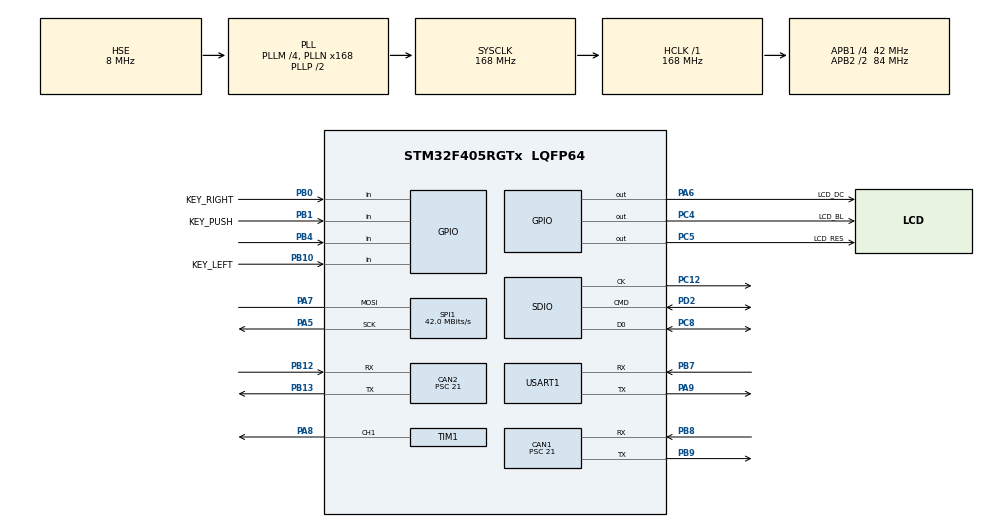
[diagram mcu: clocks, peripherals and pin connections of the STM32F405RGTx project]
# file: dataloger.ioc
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CAN1.BS1=CAN_BS1_4TQ
CAN1.BS2=CAN_BS2_3TQ
CAN1.CalculateBaudRate=250000
CAN1.CalculateTimeBit=4000
CAN1.CalculateTimeQuantum=500.0
CAN1.Prescaler=21
CAN2.BS1=CAN_BS1_4TQ
CAN2.BS2=CAN_BS2_3TQ
CAN2.CalculateBaudRate=250000
CAN2.CalculateTimeBit=4000
CAN2.CalculateTimeQuantum=500.0
CAN2.Prescaler=21
Dma.Request0=TIM1_CH1
Dma.Request1=SPI1_TX
Dma.SPI1_TX.1.Direction=DMA_MEMORY_TO_PERIPH
Dma.SPI1_TX.1.FIFOMode=DMA_FIFOMODE_DISABLE
Dma.SPI1_TX.1.Instance=DMA2_Stream3
Dma.SPI1_TX.1.MemDataAlignment=DMA_MDATAALIGN_BYTE
Dma.SPI1_TX.1.MemInc=DMA_MINC_ENABLE
Dma.SPI1_TX.1.Mode=DMA_NORMAL
Dma.SPI1_TX.1.PeriphDataAlignment=DMA_PDATAALIGN_BYTE
Dma.SPI1_TX.1.PeriphInc=DMA_PINC_DISABLE
Dma.SPI1_TX.1.Priority=DMA_PRIORITY_LOW
Dma.TIM1_CH1.0.Direction=DMA_MEMORY_TO_PERIPH
Dma.TIM1_CH1.0.FIFOMode=DMA_FIFOMODE_DISABLE
Dma.TIM1_CH1.0.Instance=DMA2_Stream1
Dma.TIM1_CH1.0.MemDataAlignment=DMA_MDATAALIGN_HALFWORD
Dma.TIM1_CH1.0.MemInc=DMA_MINC_ENABLE
Dma.TIM1_CH1.0.Mode=DMA_NORMAL
Dma.TIM1_CH1.0.PeriphDataAlignment=DMA_PDATAALIGN_HALFWORD
Dma.TIM1_CH1.0.PeriphInc=DMA_PINC_DISABLE
Dma.TIM1_CH1.0.Priority=DMA_PRIORITY_LOW
FATFS.BSP.number=1
FATFS._CODE_PAGE=437
FATFS._USE_LFN=2
FATFS0.BSP.STBoard=false
FATFS0.BSP.api=Unknown
FATFS0.BSP.instance=PB4
FATFS0.BSP.ip=GPIO
FATFS0.BSP.mode=Input
FATFS0.BSP.name=Detect_SDIO
FATFS0.BSP.solution=PB4
Mcu.Family=STM32F4
Mcu.Name=STM32F405RGTx
Mcu.Package=LQFP64
NVIC.CAN1_RX0_IRQn=true\:0\:0\:false\:false\:true\:true\:true\:true
NVIC.CAN2_RX0_IRQn=true\:0\:0\:false\:false\:true\:true\:true\:true
NVIC.DMA2_Stream1_IRQn=true\:0\:0\:false\:false\:true\:false\:true\:true
NVIC.DMA2_Stream3_IRQn=true\:0\:0\:false\:false\:true\:false\:true\:true
NVIC.PriorityGroup=NVIC_PRIORITYGROUP_4
NVIC.SDIO_IRQn=true\:0\:0\:false\:false\:true\:true\:true\:true
PA13.Mode=Serial_Wire
PA13.Signal=SYS_JTMS-SWDIO
PA14.Mode=Serial_Wire
PA14.Signal=SYS_JTCK-SWCLK
PA5.Mode=Simplex_Bidirectional_Master
PA5.Signal=SPI1_SCK
PA6.GPIO_Label=LCD_DC
PA6.GPIO_PuPd=GPIO_PULLUP
PA6.GPIO_Speed=GPIO_SPEED_FREQ_VERY_HIGH
PA6.PinState=GPIO_PIN_RESET
PA6.Signal=GPIO_Output
PA7.Mode=Simplex_Bidirectional_Master
PA7.Signal=SPI1_MOSI
PA8.Signal=S_TIM1_CH1
PA9.Mode=Asynchronous
PA9.Signal=USART1_TX
PB0.GPIO_Label=KEY_RIGHT
PB0.GPIO_PuPd=GPIO_PULLUP
PB0.Signal=GPIO_Input
PB1.GPIO_Label=KEY_PUSH
PB1.GPIO_PuPd=GPIO_PULLUP
PB1.Signal=GPIO_Input
PB10.GPIO_Label=KEY_LEFT
PB10.GPIO_PuPd=GPIO_PULLUP
PB10.Signal=GPIO_Input
PB12.Mode=CAN_Activate
PB12.Signal=CAN2_RX
PB13.Mode=CAN_Activate
PB13.Signal=CAN2_TX
PB4.Signal=GPIO_Input
PB7.Mode=Asynchronous
PB7.Signal=USART1_RX
PB8.Mode=CAN_Activate
PB8.Signal=CAN1_RX
PB9.Mode=CAN_Activate
PB9.Signal=CAN1_TX
PC12.Mode=SD_1_bit
PC12.Signal=SDIO_CK
PC4.GPIO_Label=LCD_BL
PC4.GPIO_PuPd=GPIO_PULLUP
PC4.GPIO_Speed=GPIO_SPEED_FREQ_VERY_HIGH
PC4.Signal=GPIO_Output
PC5.GPIO_Label=LCD_RES
PC5.GPIO_ModeDefaultOutputPP=GPIO_MODE_OUTPUT_PP
PC5.GPIO_PuPd=GPIO_PULLUP
PC5.GPIO_Speed=GPIO_SPEED_FREQ_VERY_HIGH
PC5.Signal=GPIO_Output
PC8.Mode=SD_1_bit
PC8.Signal=SDIO_D0
PD2.Mode=SD_1_bit
PD2.Signal=SDIO_CMD
PH0-OSC_IN.Mode=HSE-External-Oscillator
PH0-OSC_IN.Signal=RCC_OSC_IN
PH1-OSC_OUT.Mode=HSE-External-Oscillator
PH1-OSC_OUT.Signal=RCC_OSC_OUT
ProjectManager.HeapSize=0x200
ProjectManager.StackSize=0x1000
ProjectManager.TargetToolchain=MDK-ARM V5
RCC.48MHZClocksFreq_Value=48000000
RCC.AHBFreq_Value=168000000
RCC.APB1CLKDivider=RCC_HCLK_DIV4
RCC.APB1Freq_Value=42000000
RCC.APB1TimFreq_Value=84000000
RCC.APB2CLKDivider=RCC_HCLK_DIV2
RCC.APB2Freq_Value=84000000
RCC.APB2TimFreq_Value=168000000
RCC.CortexFreq_Value=168000000
RCC.HCLKFreq_Value=168000000
RCC.HSE_VALUE=8000000
RCC.HSI_VALUE=16000000
RCC.LSE_VALUE=32768
RCC.PLLM=4
RCC.PLLN=168
RCC.PLLQ=7
RCC.PLLSourceVirtual=RCC_PLLSOURCE_HSE
RCC.SYSCLKFreq_VALUE=168000000
RCC.SYSCLKSource=RCC_SYSCLKSOURCE_PLLCLK
RCC.VCOOutputFreq_Value=336000000
SDIO.ClockDiv=4
SH.S_TIM1_CH1.0=TIM1_CH1,PWM Generation1 CH1
SPI1.CalculateBaudRate=42.0 MBits/s
SPI1.Direction=SPI_DIRECTION_1LINE
SPI1.Mode=SPI_MODE_MASTER
SPI1.VirtualType=VM_MASTER
TIM1.Channel-PWM\ Generation1\ CH1=TIM_CHANNEL_1
TIM1.Period=209
TIM1.Prescaler=0
TIM2.Period=65535
TIM2.Prescaler=165
USART1.VirtualMode=VM_ASYNC
VP_FATFS_VS_Generic.Mode=User_defined
VP_FATFS_VS_SDIO.Mode=SDIO
VP_TIM1_VS_ClockSourceINT.Mode=Internal
VP_TIM2_VS_ClockSourceINT.Mode=Internal
board=custom

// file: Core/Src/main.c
/* USER CODE BEGIN Header */
/**
  ******************************************************************************
  * @file           : main.c
  * @brief          : Main program body
  ******************************************************************************
  * @attention
  *
  * Copyright (c) 2024 STMicroelectronics.
  * All rights reserved.
  *
  * This software is licensed under terms that can be found in the LICENSE file
  * in the root directory of this software component.
  * If no LICENSE file comes with this software, it is provided AS-IS.
  *
  ******************************************************************************
  */
/* USER CODE END Header */
#include "main.h"
#include "can.h"
#include "dma.h"
#include "fatfs.h"
#include "sdio.h"
#include "spi.h"
#include "tim.h"
#include "usart.h"
#include "gpio.h"

/* USER CODE BEGIN Includes */
#include "bsp_WS2812B.h"
#include "bsp_lcd.h"
#include "bsp_key.h"
#include "app_can.h"
#include "app_sdio.h"
#include "app_fatdata.h"
#include "app_ui.h"
#include "Variable.h"

#include "stdio.h"
#include "string.h"
/* USER CODE END Includes */

void SystemClock_Config(void);

int main(void)
{

  /* MCU Configuration--------------------------------------------------------*/

  /* Reset of all peripherals, Initializes the Flash interface and the Systick. */
  HAL_Init();

  /* Configure the system clock */
  SystemClock_Config();

  /* Initialize all configured peripherals */
  MX_GPIO_Init();
  MX_DMA_Init();
  MX_CAN1_Init();
  MX_CAN2_Init();
  MX_TIM1_Init();
  MX_USART1_UART_Init();
  MX_TIM2_Init();
  MX_SDIO_SD_Init();
  MX_FATFS_Init();
  MX_SPI1_Init();
  /* USER CODE BEGIN 2 */
  uint8_t KeyPushCount = 0;
  uint8_t key;
  uint8_t FatfsInitFlag = 0;

	//init ws2812b to show simple sigal
	ws2812_init(1);
	ws2812_green(1);

	//LCD preparation
	LCD_init();

    //init sd and file system
	if(FATFS_Load() != FR_OK){  //fatfs装载sd卡，如果卡中没有文件系统，则格式化
		ws2812_red(1);
		SDWrongFlag = 1;
	}

	//candata
	canfilter_init();
  /* USER CODE END 2 */

  /* Infinite loop */
  while (1)
  {

    /* USER CODE BEGIN 3 */
	  loop_flag = 1;
	  FatfsInitFlag = 0;  //重新初始化文件系统

	  lcd_clear(0x0000);
	  LCD_ShowString(10,10,"recorde mode",0x0000,0xFFFF,32,0);
	  LCD_ShowString(10,40,"master mode",0xFFFF,0x0000,32,0);
	  LCD_ShowString(10,70,"diagnose mode",0xFFFF,0x0000,32,0);
	  while(loop_flag){
	  key = key_scan(0);
	  if(!recode_mode_flag){
		  if(key == KeyLeft){
			  Display_mode --;
			  if(Display_mode <= 1)
				  Display_mode = 1;
			  start_up_flag = 1;
		  }
		  if(key == KeyRight){
			  Display_mode ++;
			  if(Display_mode >= 3)
				  Display_mode = 3;
			  start_up_flag = 1;
		  }
		  if(key == KeyPush){
			  if(Display_mode == 1){
				  recode_mode_flag = 1;
				  recorde_mode();
			  }
		  }
		  start_up();
	  }
	  else if(recode_mode_flag){
		  if(key == KeyPush){
			  KeyPushCount ++;
			  if(KeyPushCount >= 3){
				  FATFS_Carclosefile();
				  ws2812_blue(1);
				  LCD_ShowString(10,120,(unsigned char *)"send data to sd card",0x0000,0x0000,16,0);
				  LCD_ShowString(10,160,(unsigned char *)"file close",0xFFFF,0x0000,16,0);
				  //回到主菜单
				  loop_flag = 0;
				  recode_mode_flag = 0;
			  }
		  }
		  if(!FatfsInitFlag){
			  Fatfs_init();
			  FatfsInitFlag = 1;
		  }
		  FATFS_CarWrite();
		  LCD_ShowIntNum(48,180,sd_data_send_mes,5,0xFFFF,0x0000,16);
	  }
	  }
	  //HAL_Delay(10);
  }
  /* USER CODE END 3 */
}

void SystemClock_Config(void)
{
  RCC_OscInitTypeDef RCC_OscInitStruct = {0};
  RCC_ClkInitTypeDef RCC_ClkInitStruct = {0};

  /** Configure the main internal regulator output voltage
  */
  __HAL_RCC_PWR_CLK_ENABLE();
  __HAL_PWR_VOLTAGESCALING_CONFIG(PWR_REGULATOR_VOLTAGE_SCALE1);

  /** Initializes the RCC Oscillators according to the specified parameters
  * in the RCC_OscInitTypeDef structure.
  */
  RCC_OscInitStruct.OscillatorType = RCC_OSCILLATORTYPE_HSE;
  RCC_OscInitStruct.HSEState = RCC_HSE_ON;
  RCC_OscInitStruct.PLL.PLLState = RCC_PLL_ON;
  RCC_OscInitStruct.PLL.PLLSource = RCC_PLLSOURCE_HSE;
  RCC_OscInitStruct.PLL.PLLM = 4;
  RCC_OscInitStruct.PLL.PLLN = 168;
  RCC_OscInitStruct.PLL.PLLP = RCC_PLLP_DIV2;
  RCC_OscInitStruct.PLL.PLLQ = 7;
  if (HAL_RCC_OscConfig(&RCC_OscInitStruct) != HAL_OK)
  {
    Error_Handler();
  }

  /** Initializes the CPU, AHB and APB buses clocks
  */
  RCC_ClkInitStruct.ClockType = RCC_CLOCKTYPE_HCLK|RCC_CLOCKTYPE_SYSCLK
                              |RCC_CLOCKTYPE_PCLK1|RCC_CLOCKTYPE_PCLK2;
  RCC_ClkInitStruct.SYSCLKSource = RCC_SYSCLKSOURCE_PLLCLK;
  RCC_ClkInitStruct.AHBCLKDivider = RCC_SYSCLK_DIV1;
  RCC_ClkInitStruct.APB1CLKDivider = RCC_HCLK_DIV4;
  RCC_ClkInitStruct.APB2CLKDivider = RCC_HCLK_DIV2;

  if (HAL_RCC_ClockConfig(&RCC_ClkInitStruct, FLASH_LATENCY_5) != HAL_OK)
  {
    Error_Handler();
  }
}

void Error_Handler(void)
{
  __disable_irq();
  while (1)
  {
  }
}
